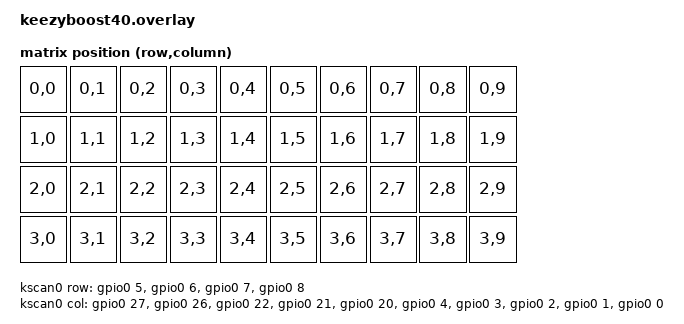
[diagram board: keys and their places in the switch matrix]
#include <dt-bindings/zmk/matrix_transform.h>
#include <zephyr/dt-bindings/mipi_dbi/mipi_dbi.h>
#include <zephyr/dt-bindings/pinctrl/rpi-pico-rp2040-pinctrl.h>
#include "keezyboost40-layouts.dtsi"

/ {
    chosen {
        zmk,kscan = &kscan0;
        zmk,physical-layout = &physical_layout0;
        zephyr,display = &st7735r;
    };

    kscan0: kscan {
        compatible = "zmk,kscan-gpio-matrix";
        diode-direction = "col2row";

        col-gpios
            = <&gpio0 27 GPIO_ACTIVE_HIGH>
            , <&gpio0 26 GPIO_ACTIVE_HIGH>
            , <&gpio0 22 GPIO_ACTIVE_HIGH>
            , <&gpio0 21 GPIO_ACTIVE_HIGH>
            , <&gpio0 20 GPIO_ACTIVE_HIGH>
            , <&gpio0 4 GPIO_ACTIVE_HIGH>
            , <&gpio0 3 GPIO_ACTIVE_HIGH>
            , <&gpio0 2 GPIO_ACTIVE_HIGH>
            , <&gpio0 1 GPIO_ACTIVE_HIGH>
            , <&gpio0 0 GPIO_ACTIVE_HIGH>
            ;

        row-gpios
            = <&gpio0 5 (GPIO_ACTIVE_HIGH | GPIO_PULL_DOWN)>
            , <&gpio0 6 (GPIO_ACTIVE_HIGH | GPIO_PULL_DOWN)>
            , <&gpio0 7 (GPIO_ACTIVE_HIGH | GPIO_PULL_DOWN)>
            , <&gpio0 8 (GPIO_ACTIVE_HIGH | GPIO_PULL_DOWN)>
            ;
    };

    matrix_transform0: matrix_transform0 {
        compatible = "zmk,matrix-transform";
        columns = <10>;
        rows = <4>;
        map = <
            RC(0,0) RC(0,1) RC(0,2) RC(0,3) RC(0,4) RC(0,5) RC(0,6) RC(0,7) RC(0,8) RC(0,9)
            RC(1,0) RC(1,1) RC(1,2) RC(1,3) RC(1,4) RC(1,5) RC(1,6) RC(1,7) RC(1,8) RC(1,9)
            RC(2,0) RC(2,1) RC(2,2) RC(2,3) RC(2,4) RC(2,5) RC(2,6) RC(2,7) RC(2,8) RC(2,9)
            RC(3,0) RC(3,1) RC(3,2) RC(3,3) RC(3,4) RC(3,5) RC(3,6) RC(3,7) RC(3,8) RC(3,9)
        >;
    };

    backlight: backlight {
        compatible = "regulator-fixed";
        regulator-name = "lcd_backlight";
        enable-gpios = <&gpio0 15 GPIO_ACTIVE_HIGH>;
        regulator-boot-on;
        regulator-always-on;
    };

    mipi_dbi {
        compatible = "zephyr,mipi-dbi-spi";
        spi-dev = <&spi0>;
        dc-gpios = <&gpio0 16 GPIO_ACTIVE_HIGH>;
        reset-gpios = <&gpio0 14 GPIO_ACTIVE_LOW>;
        write-only;
        #address-cells = <1>;
        #size-cells = <0>;

        st7735r: st7735r@0 {
            compatible = "sitronix,st7735r";
            reg = <0>;
            mipi-max-frequency = <20000000>;
            mipi-mode = "MIPI_DBI_MODE_SPI_4WIRE";
            width = <128>;
            height = <160>;
            x-offset = <0>;
            y-offset = <0>;
            madctl = <0xC8>;
            colmod = <0x55>;
            pwctr1 = [a2 02 84];
            pwctr2 = [c5];
            pwctr3 = [0a 00];
            pwctr4 = [8a 2a];
            pwctr5 = [8a ee];
            vmctr1 = <0x0e>;
            frmctr1 = [01 2c 2d];
            frmctr2 = [01 2c 2d];
            frmctr3 = [01 2c 2d 01 2c 2d];
            gamctrp1 = [02 1c 07 12 37 32 29 2d 29 25 2b 39 00 01 03 10];
            gamctrn1 = [03 1d 07 06 2e 2c 29 2d 2e 2e 37 3f 00 00 02 10];
        };
    };
};

&pinctrl {
    spi0_keezyboost40: spi0_keezyboost40 {
        group1 {
            pinmux = <SPI0_SCK_P18>, <SPI0_TX_P19>;
        };
    };
};

&spi0 {
    status = "okay";
    pinctrl-0 = <&spi0_keezyboost40>;
    pinctrl-names = "default";
    cs-gpios = <&gpio0 17 GPIO_ACTIVE_LOW>;
};

